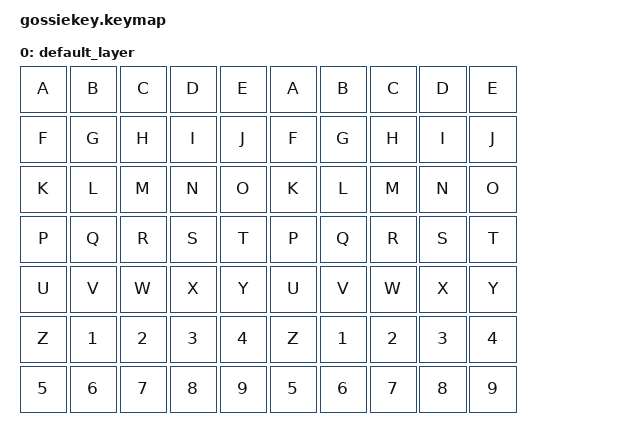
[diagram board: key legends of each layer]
#include <behaviors.dtsi>
#include <dt-bindings/zmk/keys.h>

/ {
    keymap {
        compatible = "zmk,keymap";

        default_layer {
            bindings = <
                &kp A  &kp B  &kp C  &kp D  &kp E    &kp A  &kp B  &kp C  &kp D  &kp E
                &kp F  &kp G  &kp H  &kp I  &kp J    &kp F  &kp G  &kp H  &kp I  &kp J
                &kp K  &kp L  &kp M  &kp N  &kp O    &kp K  &kp L  &kp M  &kp N  &kp O
                &kp P  &kp Q  &kp R  &kp S  &kp T    &kp P  &kp Q  &kp R  &kp S  &kp T
                &kp U  &kp V  &kp W  &kp X  &kp Y    &kp U  &kp V  &kp W  &kp X  &kp Y
                &kp Z  &kp N1 &kp N2 &kp N3 &kp N4   &kp Z  &kp N1 &kp N2 &kp N3 &kp N4
                &kp N5 &kp N6 &kp N7 &kp N8 &kp N9   &kp N5 &kp N6 &kp N7 &kp N8 &kp N9
            >;
        };
    };
};
